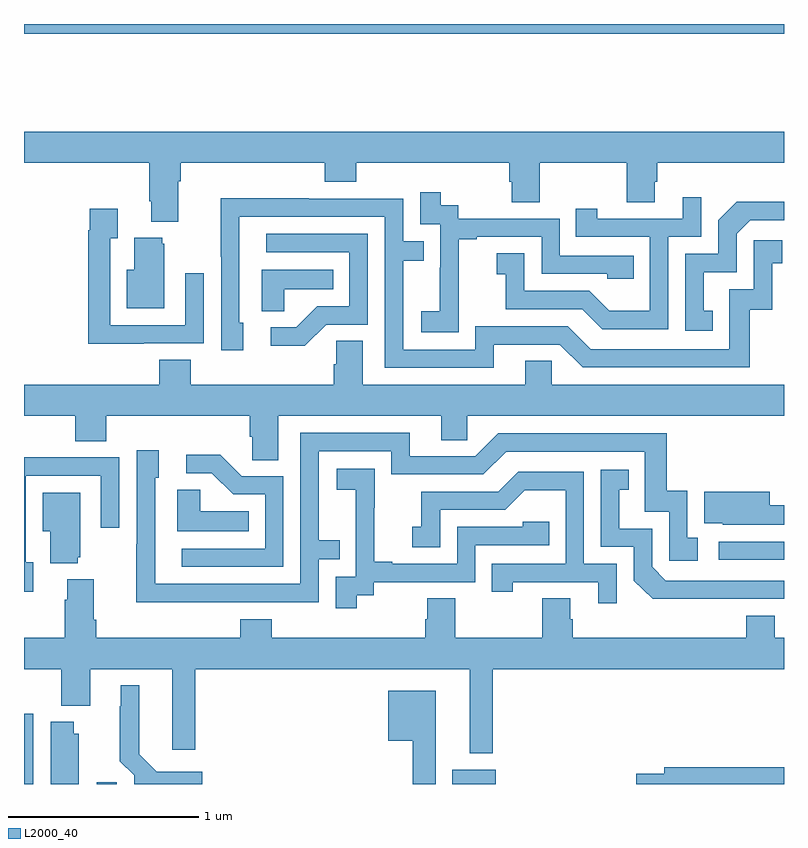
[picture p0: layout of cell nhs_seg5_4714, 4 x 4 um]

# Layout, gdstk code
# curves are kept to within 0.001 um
import gdstk
lib = gdstk.Library(unit=1e-6, precision=1e-09)
def R(c, l, rs):  # rectangles x0, y0, x1, y1
    for r in rs: c.add(gdstk.rectangle(r[:2], r[2:], *l))
def P(c, l, *ps):  # polygons
    for p in ps: c.add(gdstk.Polygon(p, *l))
L2000_40 = (2000, 40)

nhs_seg5_4714 = lib.new_cell('nhs_seg5_4714')
R(nhs_seg5_4714, L2000_40, [(387,878.799,387.049,879.169), (387.383,878.799,387.487,878.809), (389.255,878.799,389.482,878.875), (390.657,879.978,391,880.074), (387,882.748,391,882.799)])
P(nhs_seg5_4714, L2000_40, [(387.811,881.972),(387.824,881.972),(387.824,882.068),(388.583,882.068),(388.583,881.969),(388.748,881.969),(388.748,882.068),(389.555,882.068),(389.555,881.97),(389.567,881.97),(389.567,881.86),(389.715,881.86),(389.715,882.068),(390.172,882.068),(390.172,881.86),(390.319,881.86),(390.319,881.97),(390.332,881.97),(390.332,882.068),(391,882.068),(391,882.232),(387,882.232),(387,882.068),(387.659,882.068),(387.659,881.866),(387.671,881.866),(387.671,881.759),(387.811,881.759)],
  [(389.289,881.383),(389.288,881.383),(389.288,881.667),(389.383,881.667),(389.383,881.679),(389.724,881.679),(389.724,881.484),(390.069,881.484),(390.069,881.457),(390.209,881.457),(390.209,881.58),(389.82,881.58),(389.82,881.775),(389.286,881.775),(389.286,881.844),(389.194,881.844),(389.194,881.914),(389.085,881.914),(389.085,881.745),(389.19,881.745),(389.19,881.516),(389.189,881.516),(389.189,881.287),(389.091,881.287),(389.091,881.177),(389.289,881.177)],
  [(390.39,881.679),(390.564,881.679),(390.564,881.887),(390.467,881.887),(390.467,881.775),(390.016,881.775),(390.016,881.827),(389.905,881.827),(389.905,881.679),(390.294,881.679),(390.294,881.29),(390.08,881.29),(389.976,881.394),(389.634,881.394),(389.634,881.593),(389.487,881.593),(389.487,881.483),(389.536,881.483),(389.536,881.298),(389.939,881.298),(390.044,881.193),(390.39,881.193)],
  [(389.473,881.112),(389.82,881.112),(389.94,880.992),(390.82,880.992),(390.82,881.295),(390.938,881.295),(390.938,881.541),(390.991,881.541),(390.991,881.662),(390.84,881.662),(390.84,881.403),(390.711,881.403),(390.711,881.088),(389.982,881.088),(389.862,881.208),(389.376,881.208),(389.376,881.085),(388.995,881.085),(388.995,881.554),(389.105,881.554),(389.105,881.655),(388.995,881.655),(388.995,881.88),(388.499,881.88),(388.499,881.882),(388.036,881.882),(388.036,881.575),(388.038,881.575),(388.038,881.082),(388.153,881.082),(388.153,881.226),(388.134,881.226),(388.134,881.784),(388.899,881.784),(388.899,880.989),(389.473,880.989)],
  [(390.626,881.289),(390.577,881.289),(390.577,881.493),(390.75,881.493),(390.75,881.694),(390.822,881.766),(391,881.766),(391,881.864),(390.752,881.864),(390.654,881.766),(390.654,881.589),(390.48,881.589),(390.48,881.184),(390.626,881.184)],
  [(387.629,881.118),(387.945,881.118),(387.945,881.488),(387.849,881.488),(387.849,881.214),(387.453,881.214),(387.453,881.671),(387.493,881.671),(387.493,881.827),(387.345,881.827),(387.345,881.714),(387.337,881.714),(387.337,881.117),(387.629,881.117)],
  [(388.59,881.217),(388.809,881.217),(388.809,881.694),(388.275,881.694),(388.275,881.598),(388.713,881.598),(388.713,881.313),(388.544,881.313),(388.433,881.202),(388.299,881.202),(388.299,881.105),(388.477,881.105)],
  [(387.739,881.643),(387.728,881.643),(387.728,881.674),(387.581,881.674),(387.581,881.506),(387.542,881.506),(387.542,881.303),(387.739,881.303)],
  [(388.371,881.402),(388.628,881.402),(388.628,881.506),(388.25,881.506),(388.25,881.287),(388.371,881.287)],
  [(388.339,880.736),(389.195,880.736),(389.195,880.609),(389.334,880.609),(389.334,880.736),(391,880.736),(391,880.9),(389.778,880.9),(389.778,881.027),(389.639,881.027),(389.639,880.9),(388.783,880.9),(388.783,881.132),(388.644,881.132),(388.644,881.009),(388.631,881.009),(388.631,880.9),(387.878,880.9),(387.878,881.033),(387.713,881.033),(387.713,880.9),(387,880.9),(387,880.736),(387.269,880.736),(387.269,880.603),(387.434,880.603),(387.434,880.736),(388.187,880.736),(388.187,880.627),(388.2,880.627),(388.2,880.504),(388.339,880.504)],
  [(388.055,879.756),(388.551,879.756),(388.551,879.981),(388.661,879.981),(388.661,880.082),(388.551,880.082),(388.551,880.551),(388.932,880.551),(388.932,880.428),(389.418,880.428),(389.538,880.548),(390.267,880.548),(390.267,880.233),(390.396,880.233),(390.396,879.975),(390.547,879.975),(390.547,880.095),(390.492,880.095),(390.492,880.342),(390.383,880.342),(390.383,880.644),(389.496,880.644),(389.376,880.524),(389.029,880.524),(389.029,880.647),(388.455,880.647),(388.455,879.852),(387.69,879.852),(387.69,880.41),(387.709,880.41),(387.709,880.555),(387.594,880.555),(387.594,880.061),(387.592,880.061),(387.592,879.755)],
  [(388.365,880.419),(388.146,880.419),(388.033,880.532),(387.855,880.532),(387.855,880.434),(387.989,880.434),(388.1,880.323),(388.269,880.323),(388.269,880.038),(387.831,880.038),(387.831,879.942),(388.365,879.942)],
  [(387.049,879.966),(387.009,879.966),(387.009,880.422),(387.405,880.422),(387.405,880.149),(387.501,880.149),(387.501,880.518),(387.185,880.518),(387.185,880.52),(387,880.52),(387,879.81),(387.049,879.81)],
  [(388.75,879.793),(388.842,879.793),(388.842,879.861),(389.376,879.861),(389.376,880.056),(389.765,880.056),(389.765,880.179),(389.625,880.179),(389.625,880.152),(389.28,880.152),(389.28,879.957),(388.939,879.957),(388.939,879.97),(388.844,879.97),(388.844,880.253),(388.845,880.253),(388.845,880.459),(388.647,880.459),(388.647,880.349),(388.745,880.349),(388.745,880.121),(388.746,880.121),(388.746,879.891),(388.641,879.891),(388.641,879.723),(388.75,879.723)],
  [(390.716,879.774),(391,879.774),(391,879.87),(390.378,879.87),(390.306,879.942),(390.306,880.143),(390.133,880.143),(390.133,880.347),(390.182,880.347),(390.182,880.453),(390.036,880.453),(390.036,880.047),(390.21,880.047),(390.21,879.87),(390.308,879.773)],
  [(390.12,879.957),(389.946,879.957),(389.946,880.443),(389.6,880.443),(389.495,880.338),(389.092,880.338),(389.092,880.153),(389.043,880.153),(389.043,880.044),(389.19,880.044),(389.19,880.242),(389.532,880.242),(389.636,880.346),(389.85,880.346),(389.85,879.957),(389.461,879.957),(389.461,879.81),(389.572,879.81),(389.572,879.861),(390.023,879.861),(390.023,879.75),(390.12,879.75)],
  [(388.184,880.234),(387.927,880.234),(387.927,880.349),(387.806,880.349),(387.806,880.13),(388.184,880.13)],
  [(391,880.267),(390.925,880.267),(390.925,880.336),(390.581,880.336),(390.581,880.172),(390.678,880.172),(390.678,880.163),(391,880.163)],
  [(387.284,879.993),(387.295,879.993),(387.295,880.333),(387.098,880.333),(387.098,880.13),(387.137,880.13),(387.137,879.962),(387.284,879.962)],
  [(389.467,879.404),(391,879.404),(391,879.568),(390.952,879.568),(390.952,879.685),(390.8,879.685),(390.8,879.568),(389.888,879.568),(389.888,879.666),(389.875,879.666),(389.875,879.776),(389.728,879.776),(389.728,879.568),(389.271,879.568),(389.271,879.776),(389.123,879.776),(389.123,879.666),(389.111,879.666),(389.111,879.568),(388.304,879.568),(388.304,879.667),(388.139,879.667),(388.139,879.568),(387.38,879.568),(387.38,879.664),(387.367,879.664),(387.367,879.877),(387.227,879.877),(387.227,879.77),(387.215,879.77),(387.215,879.568),(387,879.568),(387,879.404),(387.197,879.404),(387.197,879.212),(387.349,879.212),(387.349,879.404),(387.779,879.404),(387.779,878.979),(387.902,878.979),(387.902,879.404),(389.345,879.404),(389.345,878.96),(389.467,878.96)],
  [(387.937,878.863),(387.699,878.863),(387.607,878.956),(387.607,879.319),(387.509,879.319),(387.509,879.209),(387.505,879.209),(387.505,878.918),(387.579,878.844),(387.579,878.799),(387.937,878.799)],
  [(389.167,879.289),(388.916,879.289),(388.916,879.026),(389.046,879.026),(389.046,878.799),(389.167,878.799)],
  [(387.289,879.063),(387.262,879.063),(387.262,879.127),(387.14,879.127),(387.14,878.799),(387.289,878.799)],
  [(391,878.888),(390.371,878.888),(390.371,878.852),(390.222,878.852),(390.222,878.799),(391,878.799)])

lib.write_gds('nhs_seg5_4714.gds')
